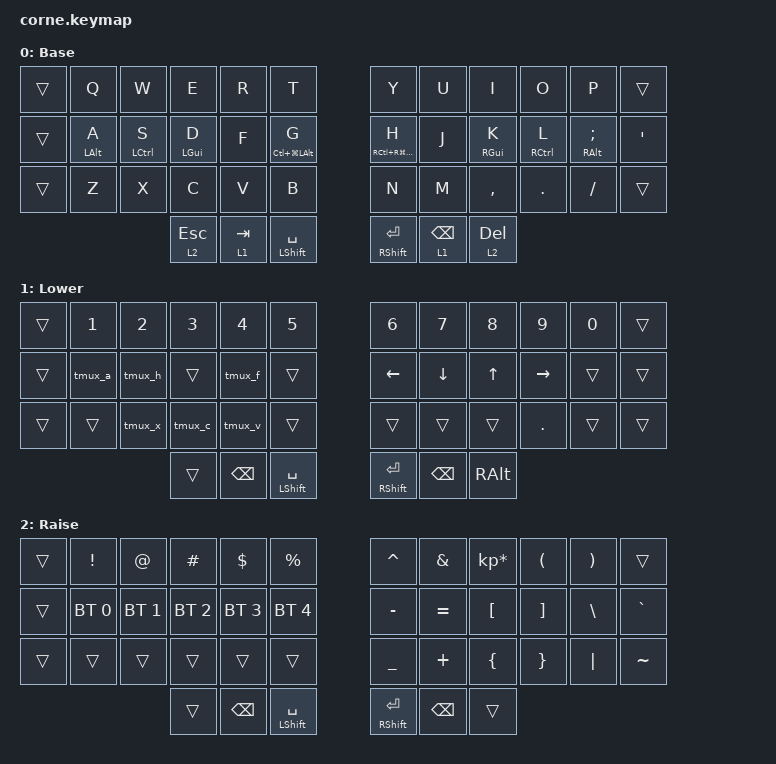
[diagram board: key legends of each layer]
/*
 * Copyright (c) 2020 The ZMK Contributors
 *
 * SPDX-License-Identifier: MIT
 */

#include <behaviors.dtsi>
#include <dt-bindings/zmk/keys.h>
#include <dt-bindings/zmk/bt.h>

/ {  
     macros {
        tmux_v: tmux_v {
            label = "tmux_v";
            compatible = "zmk,behavior-macro";
            #binding-cells = <0>;
            bindings
                = <&macro_press &kp LCTRL>
                , <&macro_tap &kp A>
                , <&macro_release &kp LCTRL>
                , <&macro_tap &kp V>
                ;
        };
        tmux_h: tmux_h {
            label = "tmux_h";
            compatible = "zmk,behavior-macro";
            #binding-cells = <0>;
            bindings
                = <&macro_press &kp LCTRL>
                , <&macro_tap &kp A>
                , <&macro_release &kp LCTRL>
                , <&macro_tap &kp S>
                ;
        };
        tmux_x: tmux_x {
            label = "tmux_x";
            compatible = "zmk,behavior-macro";
            #binding-cells = <0>;
            bindings
                = <&macro_press &kp LCTRL>
                , <&macro_tap &kp A>
                , <&macro_release &kp LCTRL>
                , <&macro_tap &kp X>
                ;
        };
        tmux_c: tmux_c {
            label = "tmux_c";
            compatible = "zmk,behavior-macro";
            #binding-cells = <0>;
            bindings
                = <&macro_press &kp LCTRL>
                , <&macro_tap &kp A>
                , <&macro_release &kp LCTRL>
                , <&macro_tap &kp C>
                ;
        };
        tmux_a: tmux_a {
            label = "tmux_a";
            compatible = "zmk,behavior-macro";
            #binding-cells = <0>;
            bindings
                = <&macro_press &kp LCTRL>
                , <&macro_tap &kp A>
                , <&macro_release &kp LCTRL>
                , <&macro_wait_time 10>
                , <&macro_press &kp LCTRL>
                , <&macro_tap &kp A>
                , <&macro_release &kp LCTRL>
                ;
        };
        tmux_f: tmux_f {
            label = "tmux_f";
            compatible = "zmk,behavior-macro";
            #binding-cells = <0>;
            bindings
                = <&macro_press &kp LCTRL>
                , <&macro_tap &kp A>
                , <&macro_release &kp LCTRL>
                , <&macro_tap &kp F>
                ;
        };
    };  
     behaviors {        
        hm: balanced_homerow_mods {
            compatible = "zmk,behavior-hold-tap";
            label = "HOMEROW_MODS";
            #binding-cells = <2>;
            tapping-term-ms = <200>;    // <---[[moderate duration]]
            quick-tap-ms = <0>;
            flavor = "balanced";
            bindings = <&kp>, <&kp>;
        };
    };
        keymap {
                compatible = "zmk,keymap";

                default_layer {
// -----------------------------------------------------------------------------------------
// |  TAB |  Q  |  W  |  E  |  R  |  T  |   |  Y  |  U   |  I  |  O  |  P  | BKSP |
// | CTRL |  A  |  S  |  D  |  F  |  G  |   |  H  |  J   |  K  |  L  |  ;  |  '   |
// | SHFT |  Z  |  X  |  C  |  V  |  B  |   |  N  |  M   |  ,  |  .  |  /  | ESC  |
//                    | GUI | LWR | SPC |   | ENT | RSE  | ALT |
                        label = "Base";
                        bindings = <
   &trans &kp Q &kp W &kp E &kp R &kp T   &kp Y &kp U  &kp I     &kp O   &kp P    &trans
   &trans &hm LALT A &hm LCTRL S &hm LGUI D &kp F &hm LC(LG(LALT)) G  &hm RC(RG(RALT)) H &kp J  &hm RGUI K  &hm RCTRL L &hm RALT SEMI &kp SQT
   &trans &kp Z &kp X &kp C &kp V &kp B   &kp N &kp M  &kp COMMA &kp DOT &kp FSLH &trans
                  &lt 2 ESC &lt 1 TAB &hm LSHIFT SPACE   &hm RSHIFT RET &lt 1 BSPC &lt 2 DEL
                        >;
                };
                lower_layer {
// -----------------------------------------------------------------------------------------
// |      |  1  |  2  |  3  |  4  |  5  |   |  6  |  7  |  8  |  9  |  0  |      |
// |      | tmux_a | tmux_h |     | tmux_f  |     |   | LFT | DWN |  UP | RGT |     |      |
// |      |     | tmux_x| tmux_c| tmux_v|   |     |     |     |     |     |     |      |
//                    |     | BSPC| SPC |   | ENT |BSPC |     |
                        label = "Lower";
                        bindings = <
   &trans &kp N1       &kp N2       &kp N3       &kp N4       &kp N5         &kp N6   &kp N7   &kp N8 &kp N9    &kp N0 &trans
   &trans &tmux_a &tmux_h &trans &tmux_f &trans &kp LEFT &kp DOWN &kp UP &kp RIGHT &trans &trans
   &trans &trans       &tmux_x       &tmux_c       &tmux_v       &trans         &trans   &trans   &trans &kp DOT    &trans &trans
                          	        &trans &kp BSPC       &hm LSHIFT SPACE      &hm RSHIFT RET  &kp BSPC   &kp RALT
                        >;
                };

                raise_layer {
// -----------------------------------------------------------------------------------------
// |      |  !  |  @  |  #  |  $  |  %  |   |  ^  |  &  |  *  |  (  |  )  |      |
// |      | BT1 | BT2 | BT3 | BT4 | BT5 |   |  -  |  =  |  [  |  ]  |  \  |  `   |
// |      |     |     |     |     |     |   |  _  |  +  |  {  |  }  | "|" |  ~   |
//                    |     | BKSP| SPC |   | ENT |BSPC |     |
                        label = "Raise";
                        bindings = <
   &trans &kp EXCL &kp AT &kp HASH &kp DLLR &kp PRCNT   &kp CARET &kp AMPS  &kp KP_MULTIPLY &kp LPAR &kp RPAR &trans
   &trans &bt BT_SEL 0 &bt BT_SEL 1 &bt BT_SEL 2 &bt BT_SEL 3 &bt BT_SEL 4     &kp MINUS &kp EQUAL &kp LBKT        &kp RBKT &kp BSLH &kp GRAVE
   &trans &trans   &trans &trans   &trans   &trans      &kp UNDER &kp PLUS  &kp LBRC        &kp RBRC &kp PIPE &kp TILDE
                    	     &trans &kp BSPC   &hm LSHIFT SPACE   &hm RSHIFT RET   &kp BSPC    &trans
                        >;
                };
        };
};
